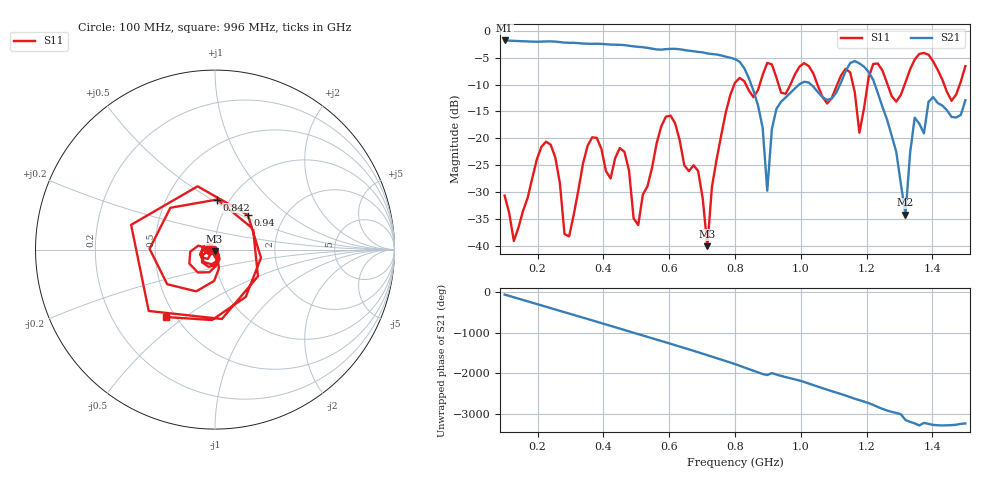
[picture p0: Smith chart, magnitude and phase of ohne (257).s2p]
! NanoVNA-App
! Date: 2025-09-25 14:22:48
! Start: 100MHz Stop: 1,5GHz Points: 101
! S-Parameter data: F S11 S21 S12 S22
# Hz S RI R 50
!  Frequency  S11_Real  S11_Imag  S21_Real  S21_Imag  S12_Real  S12_Imag  S22_Real  S22_Imag
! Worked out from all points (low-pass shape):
!   101 points, 100 MHz to 1.5 GHz, reference 50 ohm
!   highest |S21| = -1.79 dB at 100 MHz (marker M1); lowest = -34.2 dB at 1.318 GHz (marker M2)
!   |S21| within 3 dB of the highest: start of sweep to 771.1 MHz
!   lowest |S11| = -40.0 dB at 716 MHz (marker M3), VSWR 1.02, Z = 49.8 - j0.97 ohm
!   |S11| at or under -10 dB: start of sweep to 797.8 MHz; 833.3 MHz to 875 MHz (41.76 MHz wide, 4.89 % of centre); 1.05 GHz to 1.111 GHz (60.09 MHz wide, 5.56 % of centre) (the widest 3 of 7)
!   S12 and S22 are empty: the file has one direction only
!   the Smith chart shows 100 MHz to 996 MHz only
!   S11 on the Smith chart (normalised r, x): 100 MHz: 0.94, -0.01; 842 MHz: 0.88, +0.53; 940 MHz: 1.32, +0.55; 996 MHz: 0.44, -0.43
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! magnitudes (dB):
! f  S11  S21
! 100 MHz  -30.6  -1.8
! 128 MHz  -39.1  -1.9
! 226 MHz  -20.6  -2.0
! 296 MHz  -38.2  -2.2
! 338 MHz  -24.7  -2.4
! 464 MHz  -22.5  -2.7
! 506 MHz  -36.1  -3.0
! 576 MHz  -17.8  -3.5
! 688 MHz  -26.1  -3.9
! 716 MHz  -40.0  -4.2
! 800 MHz  -9.7  -5.3
! 842 MHz  -11.1  -8.8
! 898 MHz  -6.0  -29.7
! 940 MHz  -11.5  -13.2
! 996 MHz  -6.6  -9.9
! 1.038 GHz  -7.9  -10.4
! 1.178 GHz  -19.0  -6.1
! 1.22 GHz  -6.2  -9.1
! 1.276 GHz  -12.1  -19.5
! 1.318 GHz  -9.6  -34.2
! 1.346 GHz  -5.3  -16.1
! 1.5 GHz  -6.6  -12.9
